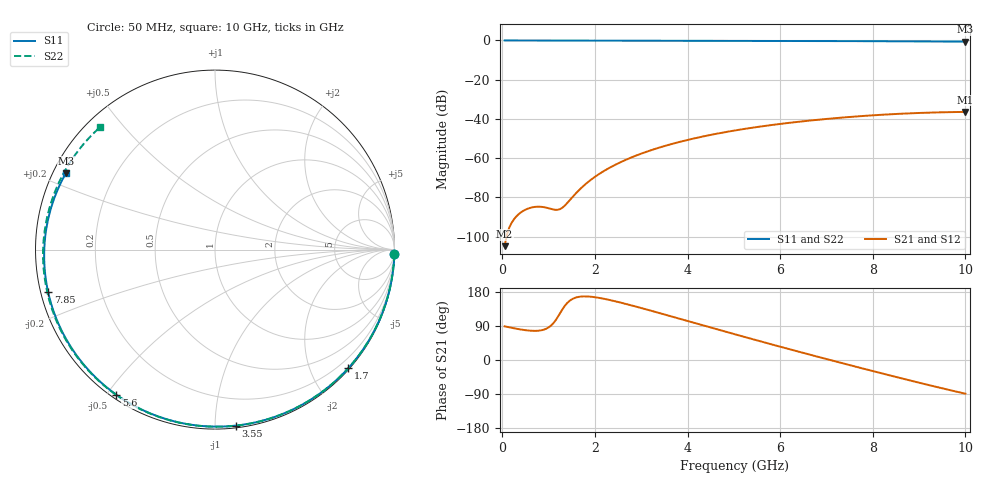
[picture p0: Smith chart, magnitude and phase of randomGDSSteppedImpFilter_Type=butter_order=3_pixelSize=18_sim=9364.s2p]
! freq	dB(S11)	phase(S11)	dB(S12)	phase(S12)
!  dB(S21)	phase(S21)	dB(S22)	phase(S22)
!S-par simulation data
#  GHz  S  DB  R 50
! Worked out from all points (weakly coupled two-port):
!   200 points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, 50 MHz to 10 GHz, reference 50 ohm
!   highest |S21| = -36.43 dB at 10 GHz (marker M1); lowest = -104.9 dB at 50 MHz (marker M2)
!   lowest |S11| = -0.6 dB at 10 GHz (marker M3), VSWR 29.04, Z = 1.82 + j12.1 ohm
!   |S11| at or under -10 dB: nowhere
!   |S22| runs from -0.6 to 0.0 dB; largest |S21 - S12| = 0
!   S11 on the Smith chart (normalised r, x): 50 MHz: 0, -91; 1.7 GHz: 0.02, -2.63; 3.55 GHz: 0.01, -1.12; 5.6 GHz: 0.01, -0.53; 7.85 GHz: 0.02, -0.13; 10 GHz: 0.04, +0.24
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0.05  -0.00 -1.3  -104.85 88.9  -104.85 88.9  -0.00 -1.4
0.4  -0.01 -10.0  -87.66 80.5  -87.66 80.5  -0.02 -10.9
0.75  -0.02 -18.7  -84.75 77.0  -84.75 77.0  -0.03 -20.4
1.1  -0.03 -27.2  -86.15 96.8  -86.15 96.8  -0.04 -29.8
1.5  -0.05 -36.9  -80.23 160.0  -80.23 160.0  -0.05 -40.3
1.7  -0.05 -41.7  -75.29 167.4  -75.29 167.4  -0.06 -45.5
1.75  -0.05 -42.9  -74.20 167.8  -74.20 167.8  -0.06 -46.8
2.05  -0.06 -49.9  -68.71 164.8  -68.71 164.8  -0.07 -54.4
2.45  -0.07 -59.1  -63.24 154.6  -63.24 154.6  -0.08 -64.4
2.9  -0.09 -69.2  -58.58 140.5  -58.58 140.5  -0.09 -75.3
3.4  -0.10 -80.1  -54.53 123.7  -54.53 123.7  -0.11 -87.0
3.55  -0.11 -83.3  -53.49 118.5  -53.49 118.5  -0.12 -90.5
4.25  -0.13 -97.8  -49.36 94.4  -49.36 94.4  -0.14 -106.1
5.05  -0.17 -113.6  -45.77 67.0  -45.77 67.0  -0.18 -123.2
5.6  -0.20 -124.2  -43.79 48.4  -43.79 48.4  -0.21 -134.5
6.15  -0.23 -134.5  -42.11 30.1  -42.11 30.1  -0.24 -145.7
6.7  -0.27 -144.6  -40.69 12.2  -40.69 12.2  -0.28 -156.8
7.3  -0.31 -155.6  -39.39 -7.1  -39.39 -7.1  -0.33 -168.9
7.85  -0.36 -165.6  -38.39 -24.5  -38.39 -24.5  -0.38 179.9
8.35  -0.41 -174.9  -37.66 -40.1  -37.66 -40.1  -0.42 169.6
9.15  -0.49 169.9  -36.84 -64.4  -36.84 -64.4  -0.50 152.4
10  -0.60 152.8  -36.43 -88.9  -36.43 -88.9  -0.58 133.1
